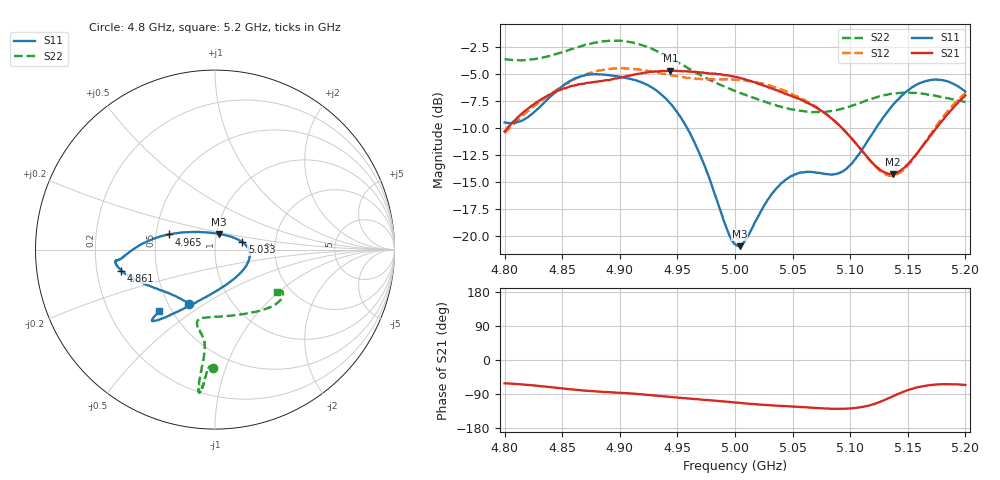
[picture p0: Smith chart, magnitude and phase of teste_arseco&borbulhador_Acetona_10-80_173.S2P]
! Network Analyzer HP8722D
! Hewlett-Packard
! Data name: Linha & Wilkinson
! Saver's name: Rodrigo Anjos
! Comments: Teste da utilização de aquisição
! continua pelo VNA HP8722D
! Time and date: 17/4/2025 15:48
!  Frequency  S11  S21  S12  S22
# HZ  S  MA R 50
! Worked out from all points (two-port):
!   401 points, 4.8 GHz to 5.2 GHz, reference 50 ohm
!   highest |S21| = -4.71 dB at 4.944 GHz (marker M1); lowest = -14.3 dB at 5.137 GHz (marker M2)
!   |S21| within 3 dB of the highest: 4.827 GHz to 5.063 GHz (236.5 MHz wide, 4.78 % of centre); 5.193285 GHz to end of sweep
!   lowest |S11| = -21.0 dB at 5.004 GHz (marker M3), VSWR 1.20, Z = 51.2 + j9.02 ohm
!   |S11| at or under -10 dB: 4.958 GHz to 5.122 GHz (164.1 MHz wide, 3.26 % of centre)
!   |S22| runs from -8.6 to -1.9 dB; largest |S21 - S12| = 0.87
!   S11 on the Smith chart (normalised r, x): 4.8 GHz: 0.63, -0.43; 4.861 GHz: 0.31, -0.10; 4.965 GHz: 0.59, +0.11; 5.033 GHz: 1.36, +0.12; 5.2 GHz: 0.43, -0.37
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4.8e9  0.3348 -115.4  0.3041 -61.7  0.2984 -175.8  0.6581 -90.8
4.819e9  0.3514 -135.5  0.3833 -65.5  0.3719 -175.0  0.6522 -92.5
4.861e9  0.5355 -167.4  0.4973 -78.5  0.532 -178.3  0.7394 -94.9
4.867e9  0.549 -169.7  0.5053 -80.3  0.5483 -179.5  0.7568 -95.0
4.899e9  0.5448 -173.9  0.5377 -86.5  0.5968 174.0  0.8001 -96.4
4.934e9  0.461 -179.7  0.5766 -94.8  0.5684 170.7  0.7079 -96.7
4.944e9  0.4093 175.7  0.5816 -97.5  0.5549 170.9  0.6655 -96.4
4.965e9  0.2695 161.7  0.5751 -103.1  0.5345 172.7  0.5742 -95.9
4.993e9  0.1077 116.7  0.553 -110.3  0.5297 175.0  0.4849 -98.4
5e9  0.09139 92.6  0.5434 -112.2  0.5288 175.0  0.4678 -99.7
5.004e9  0.08957 77.2  0.5384 -113.4  0.5266 175.0  0.4591 -100.7
5.033e9  0.1587 15.3  0.4803 -119.8  0.49 173.7  0.405 -103.5
5.05e9  0.1897 -1.5  0.441 -123.0  0.4509 173.0  0.3842 -98.8
5.067e9  0.1975 -19.6  0.4028 -125.8  0.4058 172.7  0.3739 -89.3
5.085e9  0.1924 -48.2  0.3449 -128.7  0.3453 173.0  0.3793 -75.7
5.096e9  0.203 -70.3  0.303 -128.5  0.3029 174.5  0.3913 -66.8
5.121e9  0.3068 -109.0  0.2131 -115.9  0.2114 -170.8  0.4351 -49.6
5.134e9  0.3841 -119.2  0.1935 -100.0  0.1898 -153.0  0.4527 -43.1
5.137e9  0.4023 -120.9  0.1935 -95.9  0.19 -148.4  0.4553 -41.9
5.15e9  0.4707 -126.5  0.2145 -79.6  0.2115 -129.4  0.4599 -37.1
5.17e9  0.5268 -130.9  0.2918 -66.0  0.2971 -112.1  0.4489 -32.6
5.2e9  0.4646 -132.1  0.4463 -65.8  0.4582 -107.8  0.4158 -34.3
